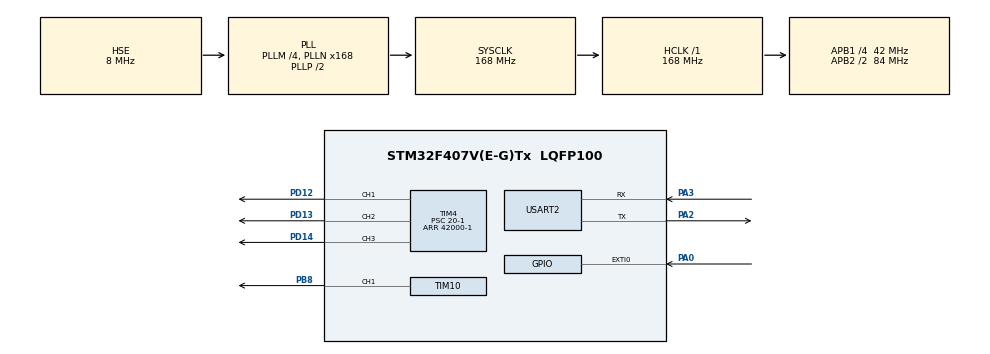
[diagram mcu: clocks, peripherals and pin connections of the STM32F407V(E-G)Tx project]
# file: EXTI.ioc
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Mcu.Family=STM32F4
Mcu.Name=STM32F407V(E-G)Tx
Mcu.Package=LQFP100
NVIC.EXTI0_IRQn=true\:0\:0\:false\:true\:true\:3\:true\:true
NVIC.FLASH_IRQn=true\:0\:0\:false\:true\:true\:1\:true\:true
NVIC.FPU_IRQn=true\:0\:0\:false\:true\:true\:5\:true\:false
NVIC.PriorityGroup=NVIC_PRIORITYGROUP_4
NVIC.RCC_IRQn=true\:0\:0\:false\:true\:true\:2\:true\:false
NVIC.USART2_IRQn=true\:0\:0\:false\:true\:true\:4\:true\:true
PA0-WKUP.GPIO_ModeDefaultEXTI=GPIO_MODE_IT_FALLING
PA0-WKUP.Signal=GPXTI0
PA2.Mode=Asynchronous
PA2.Signal=USART2_TX
PA3.Mode=Asynchronous
PA3.Signal=USART2_RX
PB8.Signal=S_TIM10_CH1
PD12.Signal=S_TIM4_CH1
PD13.Signal=S_TIM4_CH2
PD14.Signal=S_TIM4_CH3
ProjectManager.HeapSize=0x200
ProjectManager.StackSize=0x400
ProjectManager.TargetToolchain=STM32CubeIDE
RCC.48MHZClocksFreq_Value=84000000
RCC.AHBFreq_Value=168000000
RCC.APB1CLKDivider=RCC_HCLK_DIV4
RCC.APB1Freq_Value=42000000
RCC.APB1TimFreq_Value=84000000
RCC.APB2CLKDivider=RCC_HCLK_DIV2
RCC.APB2Freq_Value=84000000
RCC.APB2TimFreq_Value=168000000
RCC.CortexFreq_Value=168000000
RCC.HCLKFreq_Value=168000000
RCC.HSE_VALUE=8000000
RCC.HSI_VALUE=16000000
RCC.LSE_VALUE=32768
RCC.PLLM=4
RCC.PLLN=168
RCC.PLLSourceVirtual=RCC_PLLSOURCE_HSE
RCC.SYSCLKFreq_VALUE=168000000
RCC.SYSCLKSource=RCC_SYSCLKSOURCE_PLLCLK
RCC.VCOOutputFreq_Value=336000000
SH.S_TIM10_CH1.0=TIM10_CH1,PWM Generation1 CH1
SH.S_TIM4_CH1.0=TIM4_CH1,PWM Generation1 CH1
SH.S_TIM4_CH2.0=TIM4_CH2,PWM Generation2 CH2
SH.S_TIM4_CH3.0=TIM4_CH3,PWM Generation3 CH3
TIM10.Channel=TIM_CHANNEL_1
TIM10.Period=10000-1
TIM10.Prescaler=336-1
TIM10.Pulse=100
TIM4.Channel-PWM\ Generation1\ CH1=TIM_CHANNEL_1
TIM4.Channel-PWM\ Generation2\ CH2=TIM_CHANNEL_2
TIM4.Channel-PWM\ Generation3\ CH3=TIM_CHANNEL_3
TIM4.Period=42000-1
TIM4.Prescaler=20-1
TIM4.Pulse-PWM\ Generation1\ CH1=21000-1
TIM4.Pulse-PWM\ Generation2\ CH2=10500-1
TIM4.Pulse-PWM\ Generation3\ CH3=5250-1
TIM4.TIM_MasterSlaveMode=TIM_MASTERSLAVEMODE_ENABLE
USART2.VirtualMode=VM_ASYNC
VP_TIM10_VS_ClockSourceINT.Mode=Enable_Timer
VP_TIM4_VS_ClockSourceINT.Mode=Internal
board=custom

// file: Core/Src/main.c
/* USER CODE BEGIN Header */
/**
  ******************************************************************************
  * @file           : main.c
  * @brief          : Main program body
  ******************************************************************************
  * @attention
  *
  * <h2><center>&copy; Copyright (c) 2020 STMicroelectronics.
  * All rights reserved.</center></h2>
  *
  * This software component is licensed by ST under BSD 3-Clause license,
  * the "License"; You may not use this file except in compliance with the
  * License. You may obtain a copy of the License at:
  *                        opensource.org/licenses/BSD-3-Clause
  *
  ******************************************************************************
  */
/* USER CODE END Header */

#include "main.h"

TIM_HandleTypeDef htim4;
TIM_HandleTypeDef htim10;

UART_HandleTypeDef huart2;

void SystemClock_Config(void);
static void MX_GPIO_Init(void);
static void MX_TIM4_Init(void);
static void MX_TIM10_Init(void);
static void MX_USART2_UART_Init(void);
static void MX_NVIC_Init(void);

int main(void)
{

  /* MCU Configuration--------------------------------------------------------*/

  /* Reset of all peripherals, Initializes the Flash interface and the Systick. */
  HAL_Init();

  /* Configure the system clock */
  SystemClock_Config();

  /* Initialize all configured peripherals */
  MX_GPIO_Init();
  MX_TIM4_Init();
  MX_TIM10_Init();
  MX_USART2_UART_Init();

  /* Initialize interrupts */
  MX_NVIC_Init();
  /* USER CODE BEGIN 2 */
  HAL_TIM_PWM_Start(&htim4, TIM_CHANNEL_1);		// 몇번 ???���??, 몇번 채널
  HAL_TIM_PWM_Start(&htim4, TIM_CHANNEL_2);
  HAL_TIM_PWM_Start(&htim4, TIM_CHANNEL_3);

  HAL_TIM_PWM_Start(&htim10, TIM_CHANNEL_1);	// ???���? 10번의 1�? 채널

  // 반시�? 방향 ?��?���? ?��?��
  TIM10->CCR1 = 1500;

  /* USER CODE END 2 */

  /* Infinite loop */
  /* USER CODE BEGIN WHILE */
  uint16_t ccr = 0;
  uint16_t psc = 1000;
  uint8_t ud_flag = 0;		// 증�??��면서 ?? 건�? 감소?��면서 ?? 건�?

  while (1)
  {
	  if(ud_flag == 0)		// 증�?
	  {
		  psc++;
		  if(psc >= 2500)	ud_flag = 1;
	  }
	  else		// 감소
	  {
		  psc--;
		  if(psc <= 1000)	ud_flag = 0;
	  }

	  TIM10->PSC = psc;
	  HAL_Delay(1);
    /* USER CODE END WHILE */

  }
}

void SystemClock_Config(void)
{
  RCC_OscInitTypeDef RCC_OscInitStruct = {0};
  RCC_ClkInitTypeDef RCC_ClkInitStruct = {0};

  /** Configure the main internal regulator output voltage
  */
  __HAL_RCC_PWR_CLK_ENABLE();
  __HAL_PWR_VOLTAGESCALING_CONFIG(PWR_REGULATOR_VOLTAGE_SCALE1);
  /** Initializes the CPU, AHB and APB busses clocks
  */
  RCC_OscInitStruct.OscillatorType = RCC_OSCILLATORTYPE_HSE;
  RCC_OscInitStruct.HSEState = RCC_HSE_ON;
  RCC_OscInitStruct.PLL.PLLState = RCC_PLL_ON;
  RCC_OscInitStruct.PLL.PLLSource = RCC_PLLSOURCE_HSE;
  RCC_OscInitStruct.PLL.PLLM = 4;
  RCC_OscInitStruct.PLL.PLLN = 168;
  RCC_OscInitStruct.PLL.PLLP = RCC_PLLP_DIV2;
  RCC_OscInitStruct.PLL.PLLQ = 4;
  if (HAL_RCC_OscConfig(&RCC_OscInitStruct) != HAL_OK)
  {
    Error_Handler();
  }
  /** Initializes the CPU, AHB and APB busses clocks
  */
  RCC_ClkInitStruct.ClockType = RCC_CLOCKTYPE_HCLK|RCC_CLOCKTYPE_SYSCLK
                              |RCC_CLOCKTYPE_PCLK1|RCC_CLOCKTYPE_PCLK2;
  RCC_ClkInitStruct.SYSCLKSource = RCC_SYSCLKSOURCE_PLLCLK;
  RCC_ClkInitStruct.AHBCLKDivider = RCC_SYSCLK_DIV1;
  RCC_ClkInitStruct.APB1CLKDivider = RCC_HCLK_DIV4;
  RCC_ClkInitStruct.APB2CLKDivider = RCC_HCLK_DIV2;

  if (HAL_RCC_ClockConfig(&RCC_ClkInitStruct, FLASH_LATENCY_5) != HAL_OK)
  {
    Error_Handler();
  }
}

/**
  * @brief NVIC Configuration.
  * @retval None
  */
static void MX_NVIC_Init(void)
{
  /* FLASH_IRQn interrupt configuration */
  HAL_NVIC_SetPriority(FLASH_IRQn, 0, 0);
  HAL_NVIC_EnableIRQ(FLASH_IRQn);
  /* RCC_IRQn interrupt configuration */
  HAL_NVIC_SetPriority(RCC_IRQn, 0, 0);
  HAL_NVIC_EnableIRQ(RCC_IRQn);
  /* EXTI0_IRQn interrupt configuration */
  HAL_NVIC_SetPriority(EXTI0_IRQn, 0, 0);
  HAL_NVIC_EnableIRQ(EXTI0_IRQn);
  /* USART2_IRQn interrupt configuration */
  HAL_NVIC_SetPriority(USART2_IRQn, 0, 0);
  HAL_NVIC_EnableIRQ(USART2_IRQn);
  /* FPU_IRQn interrupt configuration */
  HAL_NVIC_SetPriority(FPU_IRQn, 0, 0);
  HAL_NVIC_EnableIRQ(FPU_IRQn);
}

static void MX_TIM4_Init(void)
{

  TIM_ClockConfigTypeDef sClockSourceConfig = {0};
  TIM_MasterConfigTypeDef sMasterConfig = {0};
  TIM_OC_InitTypeDef sConfigOC = {0};

  htim4.Instance = TIM4;
  htim4.Init.Prescaler = 20-1;
  htim4.Init.CounterMode = TIM_COUNTERMODE_UP;
  htim4.Init.Period = 42000-1;
  htim4.Init.ClockDivision = TIM_CLOCKDIVISION_DIV1;
  htim4.Init.AutoReloadPreload = TIM_AUTORELOAD_PRELOAD_DISABLE;
  if (HAL_TIM_Base_Init(&htim4) != HAL_OK)
  {
    Error_Handler();
  }
  sClockSourceConfig.ClockSource = TIM_CLOCKSOURCE_INTERNAL;
  if (HAL_TIM_ConfigClockSource(&htim4, &sClockSourceConfig) != HAL_OK)
  {
    Error_Handler();
  }
  if (HAL_TIM_PWM_Init(&htim4) != HAL_OK)
  {
    Error_Handler();
  }
  sMasterConfig.MasterOutputTrigger = TIM_TRGO_RESET;
  sMasterConfig.MasterSlaveMode = TIM_MASTERSLAVEMODE_ENABLE;
  if (HAL_TIMEx_MasterConfigSynchronization(&htim4, &sMasterConfig) != HAL_OK)
  {
    Error_Handler();
  }
  sConfigOC.OCMode = TIM_OCMODE_PWM1;
  sConfigOC.Pulse = 21000-1;
  sConfigOC.OCPolarity = TIM_OCPOLARITY_HIGH;
  sConfigOC.OCFastMode = TIM_OCFAST_DISABLE;
  if (HAL_TIM_PWM_ConfigChannel(&htim4, &sConfigOC, TIM_CHANNEL_1) != HAL_OK)
  {
    Error_Handler();
  }
  sConfigOC.Pulse = 10500-1;
  if (HAL_TIM_PWM_ConfigChannel(&htim4, &sConfigOC, TIM_CHANNEL_2) != HAL_OK)
  {
    Error_Handler();
  }
  sConfigOC.Pulse = 5250-1;
  if (HAL_TIM_PWM_ConfigChannel(&htim4, &sConfigOC, TIM_CHANNEL_3) != HAL_OK)
  {
    Error_Handler();
  }
  HAL_TIM_MspPostInit(&htim4);

}

static void MX_TIM10_Init(void)
{

  TIM_OC_InitTypeDef sConfigOC = {0};

  htim10.Instance = TIM10;
  htim10.Init.Prescaler = 336-1;
  htim10.Init.CounterMode = TIM_COUNTERMODE_UP;
  htim10.Init.Period = 10000-1;
  htim10.Init.ClockDivision = TIM_CLOCKDIVISION_DIV1;
  htim10.Init.AutoReloadPreload = TIM_AUTORELOAD_PRELOAD_DISABLE;
  if (HAL_TIM_Base_Init(&htim10) != HAL_OK)
  {
    Error_Handler();
  }
  if (HAL_TIM_PWM_Init(&htim10) != HAL_OK)
  {
    Error_Handler();
  }
  sConfigOC.OCMode = TIM_OCMODE_PWM1;
  sConfigOC.Pulse = 100;
  sConfigOC.OCPolarity = TIM_OCPOLARITY_HIGH;
  sConfigOC.OCFastMode = TIM_OCFAST_DISABLE;
  if (HAL_TIM_PWM_ConfigChannel(&htim10, &sConfigOC, TIM_CHANNEL_1) != HAL_OK)
  {
    Error_Handler();
  }
  HAL_TIM_MspPostInit(&htim10);

}

static void MX_USART2_UART_Init(void)
{

  huart2.Instance = USART2;
  huart2.Init.BaudRate = 115200;
  huart2.Init.WordLength = UART_WORDLENGTH_8B;
  huart2.Init.StopBits = UART_STOPBITS_1;
  huart2.Init.Parity = UART_PARITY_NONE;
  huart2.Init.Mode = UART_MODE_TX_RX;
  huart2.Init.HwFlowCtl = UART_HWCONTROL_NONE;
  huart2.Init.OverSampling = UART_OVERSAMPLING_16;
  if (HAL_UART_Init(&huart2) != HAL_OK)
  {
    Error_Handler();
  }

}

static void MX_GPIO_Init(void)
{
  GPIO_InitTypeDef GPIO_InitStruct = {0};

  /* GPIO Ports Clock Enable */
  __HAL_RCC_GPIOH_CLK_ENABLE();
  __HAL_RCC_GPIOA_CLK_ENABLE();
  __HAL_RCC_GPIOD_CLK_ENABLE();
  __HAL_RCC_GPIOB_CLK_ENABLE();

  /*Configure GPIO pin : PA0 */
  GPIO_InitStruct.Pin = GPIO_PIN_0;
  GPIO_InitStruct.Mode = GPIO_MODE_IT_FALLING;
  GPIO_InitStruct.Pull = GPIO_NOPULL;
  HAL_GPIO_Init(GPIOA, &GPIO_InitStruct);

}

/* USER CODE BEGIN 4 */
// SW�??? ?��리면 ?��?�� ?���???
void HAL_GPIO_EXTI_Callback(uint16_t GPIO_Pin)
{
	if(GPIO_Pin == GPIO_PIN_0)		// 0�??? ???�� ?��결된 SW�??? ?��리면
	{
		HAL_GPIO_TogglePin(GPIOD, GPIO_PIN_12);
		HAL_GPIO_TogglePin(GPIOD, GPIO_PIN_13);
		HAL_GPIO_TogglePin(GPIOD, GPIO_PIN_14);
	}
}
/* USER CODE END 4 */

void Error_Handler(void)
{
}

/************************ (C) COPYRIGHT STMicroelectronics *****END OF FILE****/
